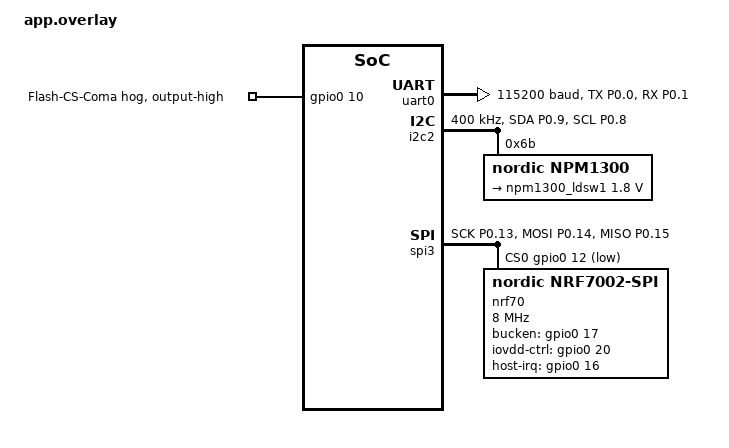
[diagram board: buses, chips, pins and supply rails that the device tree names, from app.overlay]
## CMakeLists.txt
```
# Require a minimum CMake version (Standard for NCS)
cmake_minimum_required(VERSION 3.20.0)

# Find the Zephyr package. This is the magic line that loads the whole RTOS.
find_package(Zephyr REQUIRED HINTS $ENV{ZEPHYR_BASE})

# Name your specific project
project(wifi)

target_sources(app PRIVATE src/main.c)
```

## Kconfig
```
#
# Copyright (c) 2024 Nordic Semiconductor ASA
#
# SPDX-License-Identifier: LicenseRef-Nordic-5-Clause
#

source "Kconfig.zephyr"

menu "Nordic Wi-Fi scan sample"

config WIFI_MAC_ADDRESS
	string "WiFi MAC address"
	default "F6:CE:36:00:00:01"
	help
	  Wi-Fi MAC address to be used by the sample. If not set, the sample will
	  use the default MAC address (locally administrative). This is only used
	  when the nRF7002 OTP is not programmed with a MAC address.

config WIFI_SCAN_INTERVAL_S
	int "Scan interval (seconds)"
	default 10
	help
	  Specifies the scan interval in seconds.

config WIFI_SCAN_BANDS_LIST
	string "Frequency bands to scan"
	default "2" if WIFI_SCAN_PROFILE_2_4GHz_ACTIVE || WIFI_SCAN_PROFILE_2_4GHz_PASSIVE || WIFI_SCAN_PROFILE_2_4GHz_NON_OVERLAP_CHAN
	default "5" if WIFI_SCAN_PROFILE_5GHz_ACTIVE || WIFI_SCAN_PROFILE_5GHz_PASSIVE || WIFI_SCAN_PROFILE_5GHz_NON_DFS_CHAN
	default "2,5" if WIFI_SCAN_PROFILE_2_4GHz_NON_OVERLAP_AND_5GHZ_NON_DFS_CHAN
	default ""
	help
	  Specifies the frequency bands to scan, as follows:
	  2 - 2.4 GHz,
	  5 - 5 GHz,
	  6 - 6 GHz,
	  "" - All bands allowed by the regulatory domain.
	  Multiple bands can be specified as comma separated band values.
	  Only regulatory domain permitted values are allowed.

config WIFI_SCAN_CHAN_LIST
	string "Channel list for scan"
	default "2:1,6,11" if WIFI_SCAN_PROFILE_2_4GHz_NON_OVERLAP_CHAN
	default "5:36,40,44,48,149,153,157,161,165" if WIFI_SCAN_PROFILE_5GHz_NON_DFS_CHAN
	default "2:1,6,11_5:36,40,44,48,149,153,157,161,165" if WIFI_SCAN_PROFILE_2_4GHz_NON_OVERLAP_AND_5GHZ_NON_DFS_CHAN
	default ""
	help
	  Specifies the list of channels used to perform scan.

config WIFI_SCAN_DWELL_TIME_ACTIVE
	int "Active scan dwell time"
	default 50
	range 5 1000
	help
	  Active scan dwell time (in ms) per channel.

config WIFI_SCAN_DWELL_TIME_PASSIVE
	int "Passive scan dwell time"
	default 130
	range 10 1000
	help
	  Passive scan dwell time (in ms) per channel.

# Hidden options to select the scan type
config WIFI_SCAN_TYPE_ACTIVE
	bool

config WIFI_SCAN_TYPE_PASSIVE
	bool

choice
	prompt "Choose a WiFi Scan Profile"

config WIFI_SCAN_PROFILE_DEFAULT
	bool "Scan in all bands and channels"
	help
	  Enable this profile to do Wi-Fi scan in all supported bands and channels.

config WIFI_SCAN_PROFILE_ACTIVE
	bool "Active scan"
	select WIFI_SCAN_TYPE_ACTIVE
	help
	  Enable this profile to do active scan where allowed.

config WIFI_SCAN_PROFILE_PASSIVE
	bool "Passive scan"
	select WIFI_SCAN_TYPE_PASSIVE
	help
	  Enable this profile to do passive scan on all channels.

config WIFI_SCAN_PROFILE_2_4GHz_ACTIVE
	bool "Scan in the 2.4 GHz band using active scan"
	select WIFI_SCAN_TYPE_ACTIVE
	help
	  Enable this profile to scan in the 2.4 GHz band using active scanning where allowed.

config WIFI_SCAN_PROFILE_2_4GHz_PASSIVE
	bool "Scan in the 2.4 GHz band using passive scan"
	select WIFI_SCAN_TYPE_PASSIVE
	help
	  Enable this profile to scan in the 2.4 GHz band using passive scanning.

config WIFI_SCAN_PROFILE_5GHz_ACTIVE
	bool "Scan in the 5 GHz band using active scan"
	select WIFI_SCAN_TYPE_ACTIVE
	help
	  Enable this profile to do active scan in the 5 GHz band.

config WIFI_SCAN_PROFILE_5GHz_PASSIVE
	bool "Scan in the 5 GHz band using passive scan"
	select WIFI_SCAN_TYPE_PASSIVE
	help
	  Enable this profile to do passive scan in the 5 GHz band.

config WIFI_SCAN_PROFILE_2_4GHz_NON_OVERLAP_CHAN
	bool "Scan only non-overlapping channels"
	help
	  Enable this profile to scan only non-overlapping channels (1, 6, 11)
	  in the 2.4 GHz band.

config WIFI_SCAN_PROFILE_5GHz_NON_DFS_CHAN
	bool "Scan only non-DFS channels"
	help
	  Enable this profile to scan only non-DFS channels (36, 40, 44,
	  48, 149, 153, 157, 161, 165) in the 5 GHz band.

config WIFI_SCAN_PROFILE_2_4GHz_NON_OVERLAP_AND_5GHZ_NON_DFS_CHAN
	bool "Scan only non-overlapping and non-DFS channels"
	help
	  Enable this profile to scan only non-overlapping and non-DFS channels
	  (1, 6, 11) in the 2.4 GHz band and non-DFS channels
	  (36, 40, 44, 48, 149, 153, 157, 161, 165) in the 5 GHz band.

endchoice

endmenu
```

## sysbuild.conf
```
SB_CONFIG_WIFI_NRF70=y
SB_CONFIG_WIFI_NRF70_SCAN_ONLY=y
```

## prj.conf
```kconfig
# ==========================================
# LOGGING
# ==========================================
CONFIG_SERIAL=y
CONFIG_CONSOLE=y
CONFIG_UART_CONSOLE=y
CONFIG_LOG=y
CONFIG_LOG_DEFAULT_LEVEL=3

# ==========================================
# HARDWARE DRIVERS
# ==========================================
CONFIG_GPIO=y
CONFIG_I2C=y
CONFIG_SPI=y
CONFIG_REGULATOR=y
CONFIG_MFD=y

# ==========================================
# NETWORKING & WI-FI CORE
# ==========================================
CONFIG_NETWORKING=y
CONFIG_NET_L2_ETHERNET=y
CONFIG_NET_IPV4=y
CONFIG_WIFI=y
CONFIG_WIFI_NRF70=y

# ==========================================
# MEMORY SIZING
# ==========================================
CONFIG_HEAP_MEM_POOL_SIZE=40000
CONFIG_NRF_WIFI_CTRL_HEAP_SIZE=15000
CONFIG_NRF_WIFI_DATA_HEAP_SIZE=10000
CONFIG_MAIN_STACK_SIZE=4096
CONFIG_SYSTEM_WORKQUEUE_STACK_SIZE=4096

# Wi fi management
CONFIG_NET_MGMT=y
CONFIG_NET_MGMT_EVENT=y
CONFIG_WIFI_LOG_LEVEL_INF=y

# Enable a random MAC address
CONFIG_WIFI_RANDOM_MAC_ADDRESS=y

# Enable a hardware entropy generator 
CONFIG_ENTROPY_GENERATOR=y
```

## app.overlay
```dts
#include <zephyr/dt-bindings/regulator/npm13xx.h>

/ {
    chosen {
        zephyr,wifi = &nordic_wlan0;
        ncs,location-wifi = &nordic_wlan0;
    };
};

&pinctrl {
    uart0_default: uart0_default {
        group1 {
            psels = <NRF_PSEL(UART_TX, 0, 0)>,
                    <NRF_PSEL(UART_RX, 0, 1)>;
        };
    };
    uart0_sleep: uart0_sleep {
        group1 {
            psels = <NRF_PSEL(UART_TX, 0, 0)>,
                    <NRF_PSEL(UART_RX, 0, 1)>;
            low-power-enable;
        };
    };

    uart1_default: uart1_default {
        group1 {
            psels = <NRF_PSEL(UART_TX, 0, 29)>;
        };
        group2 {
            psels = <NRF_PSEL(UART_RX, 0, 28)>;
            bias-pull-up;
        };
    };
    uart1_sleep: uart1_sleep {
        group1 {
            psels = <NRF_PSEL(UART_TX, 0, 29)>,
                    <NRF_PSEL(UART_RX, 0, 28)>;
            low-power-enable;
        };
    };

    spi3_default: spi3_default {
        group1 {
            psels = <NRF_PSEL(SPIM_SCK,  0, 13)>,
                    <NRF_PSEL(SPIM_MOSI, 0, 14)>,
                    <NRF_PSEL(SPIM_MISO, 0, 15)>;
            nordic,drive-mode = <NRF_DRIVE_H0H1>;
            bias-pull-up;
        };
    };
    spi3_sleep: spi3_sleep {
        group1 {
            psels = <NRF_PSEL(SPIM_SCK,  0, 13)>,
                    <NRF_PSEL(SPIM_MOSI, 0, 14)>,
                    <NRF_PSEL(SPIM_MISO, 0, 15)>;
            low-power-enable;
        };
    };

    i2c2_default: i2c2_default {
        group1 {
            psels = <NRF_PSEL(TWIM_SDA, 0, 9)>,
                    <NRF_PSEL(TWIM_SCL, 0, 8)>;
        };
    };
    i2c2_sleep: i2c2_sleep {
        group1 {
            psels = <NRF_PSEL(TWIM_SDA, 0, 9)>,
                    <NRF_PSEL(TWIM_SCL, 0, 8)>;
            low-power-enable;
        };
    };
};

/* Lock Flash CS high so it never contends on the SPI bus */
&gpio0 {
    flash_coma {
        gpio-hog;
        gpios = <10 GPIO_ACTIVE_HIGH>;
        output-high;
        line-name = "Flash-CS-Coma";
    };
};

&uart0 {
    status = "okay";
    current-speed = <115200>;
    pinctrl-0 = <&uart0_default>;
    pinctrl-1 = <&uart0_sleep>;
    pinctrl-names = "default", "sleep";
};

&uart1 {
    status = "disabled";
    /delete-property/ hw-flow-control;
};

&i2c2 {
    status = "okay";
    pinctrl-0 = <&i2c2_default>;
    pinctrl-1 = <&i2c2_sleep>;
    pinctrl-names = "default", "sleep";
    clock-frequency = <I2C_BITRATE_FAST>;
    zephyr,concat-buf-size = <2048>;
    zephyr,flash-buf-max-size = <2048>;

    npm1300: pmic@6b {
        compatible = "nordic,npm1300";
        reg = <0x6b>;
        status = "okay";

        npm1300_regulators: regulators {
            compatible = "nordic,npm1300-regulator";
            status = "okay";
        };

        npm1300_charger: charger {
            compatible = "nordic,npm1300-charger";
            status = "okay";
            vbus-limit-microamp = <500000>;
            term-microvolt = <4200000>;
            current-microamp = <400000>;
            dischg-limit-microamp = <1000000>;
            thermistor-ohms = <10000>;
            thermistor-beta = <3380>;
        };
    };
};

&spi3 {
    status = "okay";
    pinctrl-0 = <&spi3_default>;
    pinctrl-1 = <&spi3_sleep>;
    pinctrl-names = "default", "sleep";
    cs-gpios = <&gpio0 12 GPIO_ACTIVE_LOW>;

    nrf70: nrf7002@0 {
        /* THIS IS THE ONLY COMPATIBLE STRING NCS 3.3 ACCEPTS FOR SPI */
        compatible = "nordic,nrf7002-spi";
        status = "okay";
        reg = <0>;
        spi-max-frequency = <DT_FREQ_M(8)>;
        iovdd-power-up-delay-ms = <1>;

        bucken-gpios    = <&gpio0 17 GPIO_ACTIVE_HIGH>;
        iovdd-ctrl-gpios = <&gpio0 20 GPIO_ACTIVE_HIGH>;
        // iovdd-regulator = <&npm1300_ldsw1>;
        host-irq-gpios  = <&gpio0 16 GPIO_ACTIVE_HIGH>;

        nordic_wlan0: wlan0 {
            compatible = "nordic,wlan";
            local-mac-address = [F6 CE 36 00 00 01];
        };

        /* TX power properties - REDUCED FOR BATTERY */
        wifi-max-tx-pwr-2g-dsss = <10>;         // Was 21 → Now 10 dBm
        wifi-max-tx-pwr-2g-mcs0 = <8>;          // Was 16 → Now 8 dBm
        wifi-max-tx-pwr-2g-mcs7 = <8>;          // Was 16 → Now 8 dBm
        wifi-max-tx-pwr-5g-low-mcs0 = <6>;      // Was 9 → Now 6 dBm
        wifi-max-tx-pwr-5g-low-mcs7 = <6>;      // Was 9 → Now 6 dBm
        wifi-max-tx-pwr-5g-mid-mcs0 = <8>;      // Was 11 → Now 8 dBm
        wifi-max-tx-pwr-5g-mid-mcs7 = <8>;      // Was 11 → Now 8 dBm
        wifi-max-tx-pwr-5g-high-mcs0 = <10>;    // Was 13 → Now 10 dBm
        wifi-max-tx-pwr-5g-high-mcs7 = <10>;    // Was 13 → Now 10 dBm
    };
};

&npm1300_regulators {
    npm1300_ldsw1: LDO1 {
        status = "okay";
        /* Fixed: Lowered to 1.8V to match nRF9151 GPIO logic levels */
        regulator-min-microvolt = <1800000>;
        regulator-max-microvolt = <1800000>;
        regulator-initial-mode = <NPM13XX_LDSW_MODE_LDSW>;
        active-discharge;
        regulator-boot-on;
        regulator-always-on;
    };
};

&uart2 { status = "disabled"; };
&spi0  { status = "disabled"; };
&spi1  { status = "disabled"; };
&spi2  { status = "disabled"; };
```

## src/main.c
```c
#include <zephyr/kernel.h>
#include <zephyr/logging/log.h>
#include <zephyr/net/ethernet.h>
#include <zephyr/net/net_if.h>

#include <zephyr/net/wifi_mgmt.h>
#include <zephyr/net/net_mgmt.h>

LOG_MODULE_REGISTER(wifi_diag, LOG_LEVEL_INF);

/* Callback object used by the Zephyr network manager to report Wi-Fi events. */
static struct net_mgmt_event_callback wifi_cb;

static uint32_t scan_result;    // Number of AP's found during a scan

K_SEM_DEFINE(scan_sem, 0, 1);   // Semaphore that will block the thread until the async wifi scan finishes

/*---------------------------------------------------------------
 * Wi-Fi event handler
 *
 * This function is called automatically by Zephyr whenever a
 * registered Wi-Fi management event occurs.
 *--------------------------------------------------------------*/
static void wifi_event_handler(struct net_mgmt_event_callback *cb, uint64_t mgmt_event, struct net_if *iface)
{
    switch (mgmt_event) {

    case NET_EVENT_WIFI_SCAN_RESULT:
    {
        const struct wifi_scan_result *entry =
            (const struct wifi_scan_result *)cb->info;

        scan_result++;

        LOG_INF("[%02d] BSSID=%02X:%02X:%02X:%02X:%02X:%02X  RSSI=%d dBm  CH=%d  SSID=%s",
            scan_result,
            entry->mac[0],
            entry->mac[1],
            entry->mac[2],
            entry->mac[3],
            entry->mac[4],
            entry->mac[5],
            entry->rssi,
            entry->channel,
            entry->ssid);

        break;
    }

    case NET_EVENT_WIFI_SCAN_DONE:
    {
        const struct wifi_status *status = (const struct wifi_status *)cb->info;

        LOG_INF("Scan done status=%d", status->status);

        k_sem_give(&scan_sem);
        break;
    }

    default:
        break;
    }
}


/*---------------------------------------------------------------
 * Start a Wi-Fi scan and wait until it completes.
 *
 * Returns:
 *   0  -> Scan completed successfully
 *   <0 -> Failed to start the scan
 *--------------------------------------------------------------*/
static int wifi_scan(struct net_if *iface)
{
    struct wifi_scan_params params = {0};

    /* Active scan sends probe requests instead of only listening. */
    params.scan_type = WIFI_SCAN_TYPE_ACTIVE;

    /* Scan both 2.4 GHz and 5 GHz. */
    params.bands =
        BIT(WIFI_FREQ_BAND_2_4_GHZ) |
        BIT(WIFI_FREQ_BAND_5_GHZ);

    /* Stay longer on each channel. */
    params.dwell_time_active = 120;
    params.dwell_time_passive = 120;

    /* Return as many APs as possible. */
    params.max_bss_cnt = 64;

    scan_result = 0;

    // Sends the scan request to the driver
    int ret = net_mgmt(
        NET_REQUEST_WIFI_SCAN,
        iface,
        &params,
        sizeof(params));

    if (ret) {
        LOG_ERR("Failed to start scan (%d)", ret);
        return ret;
    }

    LOG_INF("Scanning...");

    k_sem_take(&scan_sem, K_SECONDS(20));

    LOG_INF("Found %d access points", scan_result);

    return 0;
}

int main(void)
{
    LOG_INF("======NRF 7002 Scan Test starting...======");

    /* Fetch the interface. Zephyr Auto-Init created this during boot. */
    struct net_if *iface = net_if_get_wifi_sta();

    if (!iface) {
        LOG_ERR("No Wi-Fi interface found");
        return -1;
    }
    LOG_INF("[OK]   Wi-Fi net_if found (index=%d).", net_if_get_by_iface(iface));

    /* Register callbacks for scan results and scan completion. */
    net_mgmt_init_event_callback(
        &wifi_cb,
        wifi_event_handler,
        NET_EVENT_WIFI_SCAN_RESULT |
        NET_EVENT_WIFI_SCAN_DONE);

    net_mgmt_add_event_callback(&wifi_cb);

    wifi_scan(iface);

    LOG_INF("======SCAN COMPLETE======");

    while (1) {
        k_sleep(K_FOREVER);
    }
    return 0;
}
```
